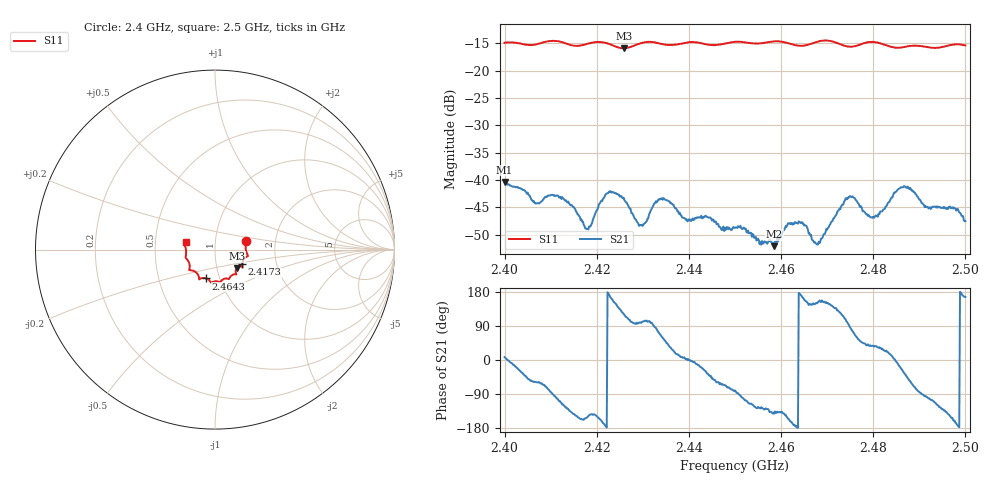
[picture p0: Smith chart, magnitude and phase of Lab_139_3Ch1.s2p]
# Hz S RI R 50
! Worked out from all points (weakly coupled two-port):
!   601 points, 2.4 GHz to 2.5 GHz, reference 50 ohm
!   highest |S21| = -40.37 dB at 2.4 GHz (marker M1); lowest = -52.1 dB at 2.4585 GHz (marker M2)
!   lowest |S11| = -15.9 dB at 2.4258 GHz (marker M3), VSWR 1.38, Z = 62.3 - j13.2 ohm
!   |S11| at or under -10 dB: start of sweep to end of sweep
!   S12 and S22 are empty: the file has one direction only
!   S11 on the Smith chart (normalised r, x): 2.4 GHz: 1.41, +0.14; 2.4173 GHz: 1.34, -0.23; 2.4643 GHz: 0.86, -0.28; 2.5 GHz: 0.72, +0.06
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2.4e9  0.1726 0.0488  0.0095 0.00127  0 0  0 0
2.407e9  0.1737 -0.0102  0.00314 -0.00522  0 0  0 0
2.4125e9  0.1772 -0.0391  -0.00319 -0.00621  0 0  0 0
2.416667e9  0.1527 -0.0743  -0.00398 -0.00179  0 0  0 0
2.417333e9  0.1519 -0.0819  -0.00343 -0.00164  0 0  0 0
2.4185e9  0.1525 -0.0922  -0.00303 -0.00218  0 0  0 0
2.4225e9  0.1488 -0.0944  -0.00757 0.000657  0 0  0 0
2.425833e9  0.1217 -0.1035  -0.00363 0.00586  0 0  0 0
2.429667e9  0.1168 -0.1348  -0.000529 0.0038  0 0  0 0
2.433333e9  0.1131 -0.1374  0.0018 0.00634  0 0  0 0
2.439333e9  0.0796 -0.1611  0.00432 0.000151  0 0  0 0
2.45e9  0.029 -0.1809  0.000622 -0.00359  0 0  0 0
2.4585e9  -0.0208 -0.1835  -0.00194 -0.00154  0 0  0 0
2.464333e9  -0.0499 -0.1607  -0.00397 0.000669  0 0  0 0
2.466667e9  -0.0759 -0.1593  -0.0024 0.00156  0 0  0 0
2.468333e9  -0.0863 -0.1645  -0.00243 0.00103  0 0  0 0
2.4745e9  -0.1016 -0.1311  -0.000774 0.00686  0 0  0 0
2.479833e9  -0.1433 -0.1137  0.00357 0.00276  0 0  0 0
2.483333e9  -0.1411 -0.09  0.00595 0.00195  0 0  0 0
2.487167e9  -0.1563 -0.0546  0.00626 -0.00571  0 0  0 0
2.4915e9  -0.1617 -0.0302  -0.000711 -0.00563  0 0  0 0
2.5e9  -0.1642 0.0427  -0.00408 0.001  0 0  0 0
